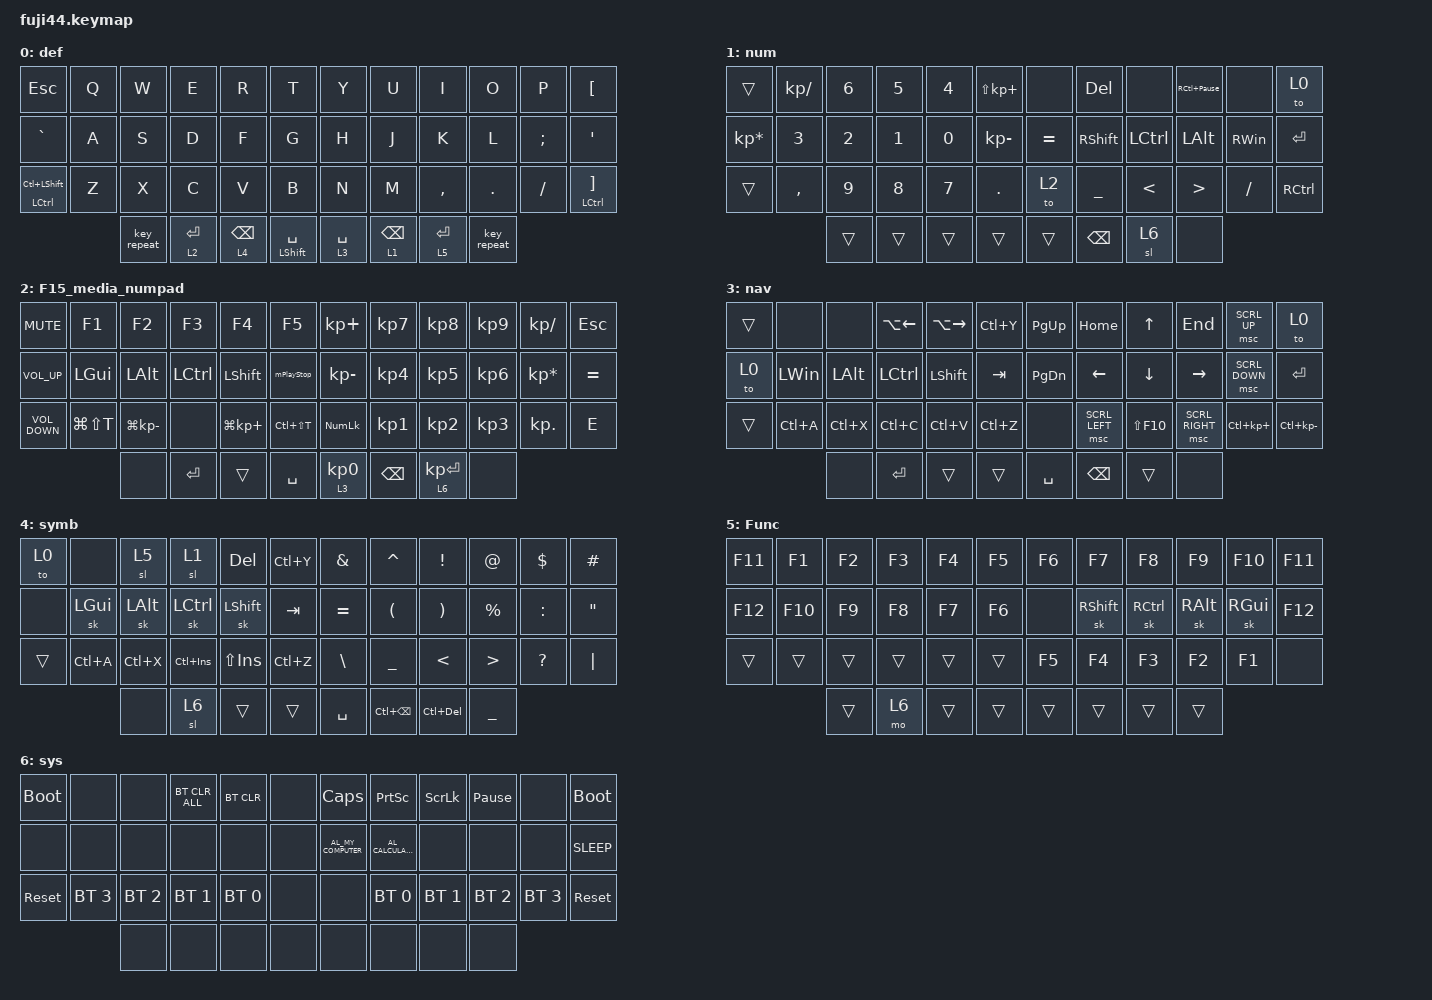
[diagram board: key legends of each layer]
/*
 * Copyright (c) 2020 The ZMK Contributors
 *
 * SPDX-License-Identifier: MIT
 */

#include <behaviors.dtsi>
#include <dt-bindings/zmk/bt.h>
#include <dt-bindings/zmk/keys.h>
#include <dt-bindings/zmk/pointing.h>

/ {
    combos {
        compatible = "zmk,combos";

        Underscore {
            bindings = <&kp UNDER>;
            key-positions = <18 19>;
            layers = <0>;
            timeout-ms = <50>;
        };

        LANG_SWITCH {
            bindings = <&kp LC(LEFT_SHIFT)>;
            key-positions = <12 24>;
            timeout-ms = <80>;
            slow-release;
            layers = <0>;
        };

        MINUS_KEY {
            bindings = <&kp KP_MINUS>;
            key-positions = <16 17>;
            timeout-ms = <50>;
            layers = <0>;
        };

        Shift_Tab {
            bindings = <&kp LS(TAB)>;
            key-positions = <16 17>;
            timeout-ms = <50>;
            layers = <3 4>;
            slow-release;
        };
    };

    behaviors {
        ss_hs_modmorph: ss_hs_modmorph {
            compatible = "zmk,behavior-mod-morph";
            label = "SS_HS_MODMORPH";
            bindings = <&kp M>, <&kp RIGHT_BRACKET>;

            #binding-cells = <0>;
            mods = <(MOD_LSFT|MOD_RSFT)>;
        };

        kh_hs_tapdance: kh_hs_tapdance {
            compatible = "zmk,behavior-tap-dance";
            label = "KH_HS_TAPDANCE";
            #binding-cells = <0>;
            tapping-term-ms = <200>;
            bindings = <&kp LEFT_BRACKET>, <&kp RIGHT_BRACKET>;
        };

        hrm: hrm {
            compatible = "zmk,behavior-hold-tap";
            #binding-cells = <2>;
            flavor = "tap-preferred";
            tapping-term-ms = <200>;
            quick-tap-ms = <200>;
            require-prior-idle-ms = <125>;
            bindings = <&kp>, <&kp>;
        };

        ht_grv_esc: ht_grv_esc {
            compatible = "zmk,behavior-hold-tap";
            label = "HT_GRV_ESC";
            bindings = <&kp>, <&kp>;

            #binding-cells = <2>;
            tapping-term-ms = <220>;
            quick-tap-ms = <120>;
            flavor = "tap-preferred";
        };

        ht_tap_prior: ht_tap_prior {
            compatible = "zmk,behavior-hold-tap";
            label = "HT_TAP_PRIOR";
            bindings = <&kp>, <&kp>;

            #binding-cells = <2>;
            tapping-term-ms = <220>;
            require-prior-idle-ms = <0>;
            flavor = "tap-preferred";
            quick-tap-ms = <120>;
        };
    };

    macros {
        mDOT: mDOT {
            compatible = "zmk,behavior-macro";
            #binding-cells = <0>;
            bindings =
                <&macro_press>,
                <&kp LEFT_ALT>,
                <&macro_tap>,
                <&kp KP_NUMBER_4 &kp KP_NUMBER_6>,
                <&macro_release>,
                <&kp LEFT_ALT>;

            label = "MDOT";
        };

        mCOMMA: mCOMMA {
            compatible = "zmk,behavior-macro";
            #binding-cells = <0>;
            bindings =
                <&macro_press>,
                <&kp LEFT_ALT>,
                <&macro_tap>,
                <&kp KP_NUMBER_4 &kp KP_NUMBER_4>,
                <&macro_release>,
                <&kp LEFT_ALT>;

            label = "MCOMMA";
        };

        mPlayStop: mPlayStop {
            compatible = "zmk,behavior-macro";
            #binding-cells = <0>;
            bindings =
                <&macro_press>,
                <&kp C_PLAY_PAUSE>,
                <&macro_wait_time 500>,
                <&macro_release>,
                <&kp C_PLAY_PAUSE>;

            label = "MPLAYSTOP";
        };
    };

    keymap {
        compatible = "zmk,keymap";

        def {
            bindings = <
&kp ESCAPE                          &kp Q  &kp W        &kp E        &kp R            &kp T                   &kp Y        &kp U            &kp I        &kp O        &kp P     &kp LEFT_BRACKET
&kp GRAVE                           &kp A  &kp S        &kp D        &kp F            &kp G                   &kp H        &kp J            &kp K        &kp L        &kp SEMI  &kp SQT
&ht_tap_prior LCTRL LC(LEFT_SHIFT)  &kp Z  &kp X        &kp C        &kp V            &kp B                   &kp N        &kp M            &kp COMMA    &kp DOT      &kp FSLH  &ht_tap_prior LCTRL RIGHT_BRACKET
                                           &key_repeat  &lt 2 ENTER  &lt 4 BACKSPACE  &mt LEFT_SHIFT SPACE    &lt 3 SPACE  &lt 1 BACKSPACE  &lt 5 ENTER  &key_repeat
            >;
        };

        num {
            bindings = <
&trans           &kp KP_DIVIDE  &kp NUMBER_6  &kp N5        &kp NUMBER_4  &kp LS(KP_PLUS)    &none      &kp DEL          &none             &kp RC(PAUSE_BREAK)  &none          &to 0
&kp KP_MULTIPLY  &kp NUMBER_3   &kp NUMBER_2  &kp NUMBER_1  &kp NUMBER_0  &kp KP_SUBTRACT    &kp EQUAL  &kp RIGHT_SHIFT  &kp LEFT_CONTROL  &kp LALT             &kp RIGHT_WIN  &kp ENTER
&trans           &kp COMMA      &kp N9        &kp NUMBER_8  &kp N7        &kp DOT            &to 2      &kp UNDERSCORE   &kp LESS_THAN     &kp GREATER_THAN     &kp SLASH      &kp RCTRL
                                &trans        &trans        &trans        &trans             &trans     &kp BACKSPACE    &sl 6             &none
            >;
        };

        F15_media_numpad {
            bindings = <
&kp C_MUTE         &kp F1         &kp F2            &kp F3     &kp F4           &kp F5           &kp KP_PLUS     &kp KP_N7      &kp KP_NUMBER_8  &kp KP_N9        &kp KP_DIVIDE    &kp ESCAPE
&kp C_VOL_UP       &kp LEFT_GUI   &kp LEFT_ALT      &kp LCTRL  &kp LEFT_SHIFT   &mPlayStop       &kp KP_MINUS    &kp KP_N4      &kp KP_N5        &kp KP_NUMBER_6  &kp KP_MULTIPLY  &kp EQUAL
&kp C_VOLUME_DOWN  &kp LG(LS(T))  &kp LG(KP_MINUS)  &none      &kp LG(KP_PLUS)  &kp LC(LS(T))    &kp KP_NUMLOCK  &kp KP_N1      &kp KP_N2        &kp KP_N3        &kp KP_DOT       &kp E
                                  &none             &kp ENTER  &trans           &kp SPACE        &lt 3 KP_N0     &kp BACKSPACE  &lt 6 KP_ENTER   &none
            >;
        };

        nav {
            bindings = <
&trans  &none         &none         &kp LA(LEFT)  &kp LA(RIGHT)   &kp LC(Y)    &kp PAGE_UP    &kp HOME        &kp UP_ARROW    &kp END          &msc SCRL_UP     &to 0
&to 0   &kp LEFT_WIN  &kp LEFT_ALT  &kp LCTRL     &kp LEFT_SHIFT  &kp TAB      &kp PAGE_DOWN  &kp LEFT_ARROW  &kp DOWN_ARROW  &kp RIGHT        &msc SCRL_DOWN   &kp ENTER
&trans  &kp LC(A)     &kp LC(X)     &kp LC(C)     &kp LC(V)       &kp LC(Z)    &none          &msc SCRL_LEFT  &kp LS(F10)     &msc SCRL_RIGHT  &kp LC(KP_PLUS)  &kp LC(KP_MINUS)
                      &none         &kp ENTER     &trans          &trans       &kp SPACE      &kp BACKSPACE   &trans          &none
            >;
        };

        symb {
            bindings = <
&to 0   &none         &sl 5         &sl 1        &kp DEL         &kp LC(Y)    &kp AMPERSAND  &kp CARET             &kp EXCLAMATION        &kp AT_SIGN       &kp DOLLAR    &kp HASH
&none   &sk LEFT_GUI  &sk LEFT_ALT  &sk LCTRL    &sk LEFT_SHIFT  &kp TAB      &kp EQUAL      &kp LEFT_PARENTHESIS  &kp RIGHT_PARENTHESIS  &kp PERCENT       &kp COLON     &kp DOUBLE_QUOTES
&trans  &kp LC(A)     &kp LC(X)     &kp LC(INS)  &kp LS(INS)     &kp LC(Z)    &kp BACKSLASH  &kp UNDER             &kp LESS_THAN          &kp GREATER_THAN  &kp QUESTION  &kp PIPE
                      &none         &sl 6        &trans          &trans       &kp SPACE      &kp LC(BACKSPACE)     &kp LC(DEL)            &kp UNDERSCORE
            >;
        };

        Func {
            bindings = <
&kp F11  &kp F1   &kp F2  &kp F3  &kp F4  &kp F5    &kp F6  &kp F7           &kp F8     &kp F9         &kp F10        &kp F11
&kp F12  &kp F10  &kp F9  &kp F8  &kp F7  &kp F6    &none   &sk RIGHT_SHIFT  &sk RCTRL  &sk RIGHT_ALT  &sk RIGHT_GUI  &kp F12
&trans   &trans   &trans  &trans  &trans  &trans    &kp F5  &kp F4           &kp F3     &kp F2         &kp F1         &none
                  &trans  &mo 6   &trans  &trans    &trans  &trans           &trans     &trans
            >;
        };

        sys {
            bindings = <
&bootloader  &none         &none         &bt BT_CLR_ALL  &bt BT_CLR    &none    &kp CAPSLOCK          &kp PRINTSCREEN      &kp SCROLLLOCK  &kp PAUSE_BREAK  &none         &bootloader
&none        &none         &none         &none           &none         &none    &kp C_AL_MY_COMPUTER  &kp C_AL_CALCULATOR  &none           &none            &none         &kp C_SLEEP
&sys_reset   &bt BT_SEL 3  &bt BT_SEL 2  &bt BT_SEL 1    &bt BT_SEL 0  &none    &none                 &bt BT_SEL 0         &bt BT_SEL 1    &bt BT_SEL 2     &bt BT_SEL 3  &sys_reset
                           &none         &none           &none         &none    &none                 &none                &none           &none
            >;
        };
    };
};
